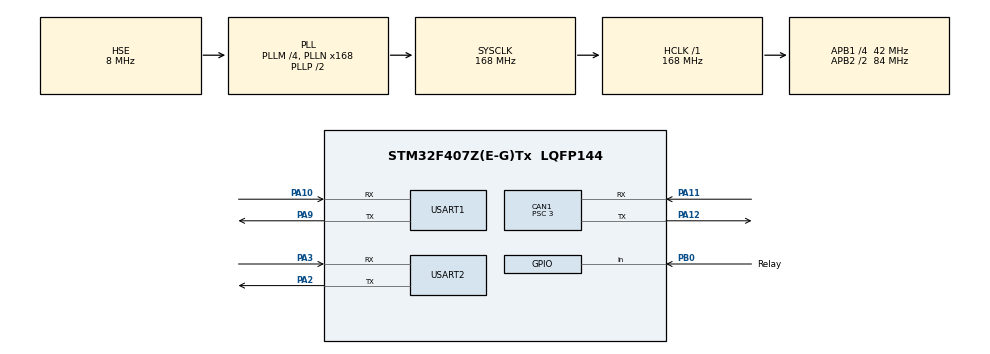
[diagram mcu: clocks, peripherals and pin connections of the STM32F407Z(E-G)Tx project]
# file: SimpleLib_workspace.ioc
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CAN1.ABOM=ENABLE
CAN1.BS1=CAN_BS1_9TQ
CAN1.BS2=CAN_BS2_4TQ
CAN1.CalculateBaudRate=1000000
CAN1.CalculateTimeBit=1000
CAN1.CalculateTimeQuantum=71.42857142857143
CAN1.NART=ENABLE
CAN1.Prescaler=3
CAN1.TXFP=ENABLE
Dma.Request0=USART1_RX
Dma.Request1=USART1_TX
Dma.USART1_RX.0.Direction=DMA_PERIPH_TO_MEMORY
Dma.USART1_RX.0.FIFOMode=DMA_FIFOMODE_DISABLE
Dma.USART1_RX.0.Instance=DMA2_Stream2
Dma.USART1_RX.0.MemDataAlignment=DMA_MDATAALIGN_BYTE
Dma.USART1_RX.0.MemInc=DMA_MINC_ENABLE
Dma.USART1_RX.0.Mode=DMA_CIRCULAR
Dma.USART1_RX.0.PeriphDataAlignment=DMA_PDATAALIGN_BYTE
Dma.USART1_RX.0.PeriphInc=DMA_PINC_DISABLE
Dma.USART1_RX.0.Priority=DMA_PRIORITY_LOW
Dma.USART1_TX.1.Direction=DMA_MEMORY_TO_PERIPH
Dma.USART1_TX.1.FIFOMode=DMA_FIFOMODE_DISABLE
Dma.USART1_TX.1.Instance=DMA2_Stream7
Dma.USART1_TX.1.MemDataAlignment=DMA_MDATAALIGN_BYTE
Dma.USART1_TX.1.MemInc=DMA_MINC_ENABLE
Dma.USART1_TX.1.Mode=DMA_NORMAL
Dma.USART1_TX.1.PeriphDataAlignment=DMA_PDATAALIGN_BYTE
Dma.USART1_TX.1.PeriphInc=DMA_PINC_DISABLE
Dma.USART1_TX.1.Priority=DMA_PRIORITY_LOW
Mcu.Family=STM32F4
Mcu.Name=STM32F407Z(E-G)Tx
Mcu.Package=LQFP144
NVIC.CAN1_RX0_IRQn=true\:0\:0\:false\:false\:true\:true\:true\:true
NVIC.DMA2_Stream2_IRQn=true\:0\:0\:false\:false\:true\:false\:true\:true
NVIC.DMA2_Stream7_IRQn=true\:0\:0\:false\:false\:true\:false\:true\:true
NVIC.PriorityGroup=NVIC_PRIORITYGROUP_4
NVIC.USART1_IRQn=true\:6\:0\:true\:false\:true\:true\:true\:true
NVIC.USART2_IRQn=true\:6\:0\:true\:false\:true\:true\:true\:true
PA10.Mode=Asynchronous
PA10.Signal=USART1_RX
PA11.Mode=CAN_Activate
PA11.Signal=CAN1_RX
PA12.Mode=CAN_Activate
PA12.Signal=CAN1_TX
PA13.Mode=Serial_Wire
PA13.Signal=SYS_JTMS-SWDIO
PA14.Mode=Serial_Wire
PA14.Signal=SYS_JTCK-SWCLK
PA2.Mode=Asynchronous
PA2.Signal=USART2_TX
PA3.Mode=Asynchronous
PA3.Signal=USART2_RX
PA9.Mode=Asynchronous
PA9.Signal=USART1_TX
PB0.GPIO_Label=Relay
PB0.GPIO_Mode=GPIO_MODE_INPUT
PB0.Signal=GPIO_Input
PH0-OSC_IN.Mode=HSE-External-Oscillator
PH0-OSC_IN.Signal=RCC_OSC_IN
PH1-OSC_OUT.Mode=HSE-External-Oscillator
PH1-OSC_OUT.Signal=RCC_OSC_OUT
ProjectManager.HeapSize=0x1000
ProjectManager.StackSize=0x1200
ProjectManager.TargetToolchain=EWARM V8.32
RCC.48MHZClocksFreq_Value=84000000
RCC.AHBFreq_Value=168000000
RCC.APB1CLKDivider=RCC_HCLK_DIV4
RCC.APB1Freq_Value=42000000
RCC.APB1TimFreq_Value=84000000
RCC.APB2CLKDivider=RCC_HCLK_DIV2
RCC.APB2Freq_Value=84000000
RCC.APB2TimFreq_Value=168000000
RCC.CortexFreq_Value=168000000
RCC.HCLKFreq_Value=168000000
RCC.HSE_VALUE=8000000
RCC.HSI_VALUE=16000000
RCC.LSE_VALUE=32768
RCC.PLLM=4
RCC.PLLN=168
RCC.PLLSourceVirtual=RCC_PLLSOURCE_HSE
RCC.SYSCLKFreq_VALUE=168000000
RCC.SYSCLKSource=RCC_SYSCLKSOURCE_PLLCLK
RCC.VCOOutputFreq_Value=336000000
USART1.VirtualMode=VM_ASYNC
USART2.VirtualMode=VM_ASYNC
board=custom

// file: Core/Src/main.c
/* USER CODE BEGIN Header */
/**
  ******************************************************************************
  * @file           : main.c
  * @brief          : Main program body
  ******************************************************************************
  * @attention
  *
  * Copyright (c) 2022 STMicroelectronics.
  * All rights reserved.
  *
  * This software is licensed under terms that can be found in the LICENSE file
  * in the root directory of this software component.
  * If no LICENSE file comes with this software, it is provided AS-IS.
  *
  ******************************************************************************
  */
/* USER CODE END Header */
#include "main.h"
#include "can.h"
#include "dma.h"
#include "usart.h"
#include "gpio.h"

/* USER CODE BEGIN Includes */
#include "simplelib.h"
#include "omni_chassis.h"
/* USER CODE END Includes */

void SystemClock_Config(void);

int main(void)
{

  /* MCU Configuration--------------------------------------------------------*/

  /* Reset of all peripherals, Initializes the Flash interface and the Systick. */
  HAL_Init();

  /* Configure the system clock */
  SystemClock_Config();

  /* Initialize all configured peripherals */
  MX_GPIO_Init();
  MX_DMA_Init();
  MX_USART1_UART_Init();
  MX_CAN1_Init();
  MX_USART2_UART_Init();
  /* USER CODE BEGIN 2 */
  SimpleLib_Init(&huart1, &hcan1);

  dji_VelCfg(1,0);
  dji_VelCfg(1,1);
  dji_VelCfg(1,2);
  dji_VelCfg(1,3);

  dji_MotorOn(1, 0);
  dji_MotorOn(1, 1);
  dji_MotorOn(1, 2);
  dji_MotorOn(1, 3);

  OmniChassis_Init();

  /* USER CODE END 2 */

  /* Infinite loop */
  /* USER CODE BEGIN WHILE */
  while (1)
  {

    SimpleLib_Run();

    if(OmniChassis.motor_can_flag == 1)
    {
      OmniChassis_Move(20, 0, 0);
    }

    // dji_VelCtrl(1, 1, 100);
    // dji_VelCtrl(1, 2, 100);
    // dji_VelCtrl(1, 3, 100);
    // dji_VelCtrl(1, 4, 100);
    /* USER CODE END WHILE */

    /* USER CODE BEGIN 3 */
    //HAL_Delay(50);
  }
  /* USER CODE END 3 */
}

void SystemClock_Config(void)
{
  RCC_OscInitTypeDef RCC_OscInitStruct = {0};
  RCC_ClkInitTypeDef RCC_ClkInitStruct = {0};

  /** Configure the main internal regulator output voltage
  */
  __HAL_RCC_PWR_CLK_ENABLE();
  __HAL_PWR_VOLTAGESCALING_CONFIG(PWR_REGULATOR_VOLTAGE_SCALE1);

  /** Initializes the RCC Oscillators according to the specified parameters
  * in the RCC_OscInitTypeDef structure.
  */
  RCC_OscInitStruct.OscillatorType = RCC_OSCILLATORTYPE_HSE;
  RCC_OscInitStruct.HSEState = RCC_HSE_ON;
  RCC_OscInitStruct.PLL.PLLState = RCC_PLL_ON;
  RCC_OscInitStruct.PLL.PLLSource = RCC_PLLSOURCE_HSE;
  RCC_OscInitStruct.PLL.PLLM = 4;
  RCC_OscInitStruct.PLL.PLLN = 168;
  RCC_OscInitStruct.PLL.PLLP = RCC_PLLP_DIV2;
  RCC_OscInitStruct.PLL.PLLQ = 4;
  if (HAL_RCC_OscConfig(&RCC_OscInitStruct) != HAL_OK)
  {
    Error_Handler();
  }

  /** Initializes the CPU, AHB and APB buses clocks
  */
  RCC_ClkInitStruct.ClockType = RCC_CLOCKTYPE_HCLK|RCC_CLOCKTYPE_SYSCLK
                              |RCC_CLOCKTYPE_PCLK1|RCC_CLOCKTYPE_PCLK2;
  RCC_ClkInitStruct.SYSCLKSource = RCC_SYSCLKSOURCE_PLLCLK;
  RCC_ClkInitStruct.AHBCLKDivider = RCC_SYSCLK_DIV1;
  RCC_ClkInitStruct.APB1CLKDivider = RCC_HCLK_DIV4;
  RCC_ClkInitStruct.APB2CLKDivider = RCC_HCLK_DIV2;

  if (HAL_RCC_ClockConfig(&RCC_ClkInitStruct, FLASH_LATENCY_5) != HAL_OK)
  {
    Error_Handler();
  }
}

/* USER CODE BEGIN 4 */
static unsigned int TimeFlag_1ms = 0;
unsigned int TimeFlag_10ms = 0;
// 以下定时标志位翻转周�????10ms
char TimeFlag_5ms = 0;
char TimeFlag_1s = 0;
char TimeFlag_20ms = 0;
char TimeFlag_100ms = 0;
char TimeFlag_50ms = 0;
/**
 * @brief 分频定时�????
 */
void inc(void)
{
  TimeFlag_1ms++;

  if (TimeFlag_1ms % 500 == 0) // 500ms
  {
  }

  if (TimeFlag_1ms % 100 == 0) // 100ms
  {
  }

  if (TimeFlag_1ms % 50 == 0) // 50ms=20hz
  {
    OmniChassis.motor_can_flag = 1;
  }

  //10ms
  if (TimeFlag_1ms % 10 == 0)
  {
    TimeFlag_20ms = (TimeFlag_10ms % 2 == 0) ? 1 : 0;
    TimeFlag_50ms = (TimeFlag_10ms % 5 == 0) ? 1 : 0;
    TimeFlag_100ms = (TimeFlag_10ms % 10 == 0) ? 1 : 0;
    TimeFlag_1s = (TimeFlag_10ms % 100 == 0) ? 1 : 0;
    TimeFlag_10ms++;
  }

  //5ms
  if (TimeFlag_1ms % 5 == 0)
  {
    TimeFlag_5ms = 1;
  }
  else
  {
    TimeFlag_5ms = 0;
  }
}
/* USER CODE END 4 */

void Error_Handler(void)
{
  __disable_irq();
  while (1)
  {
  }
}
